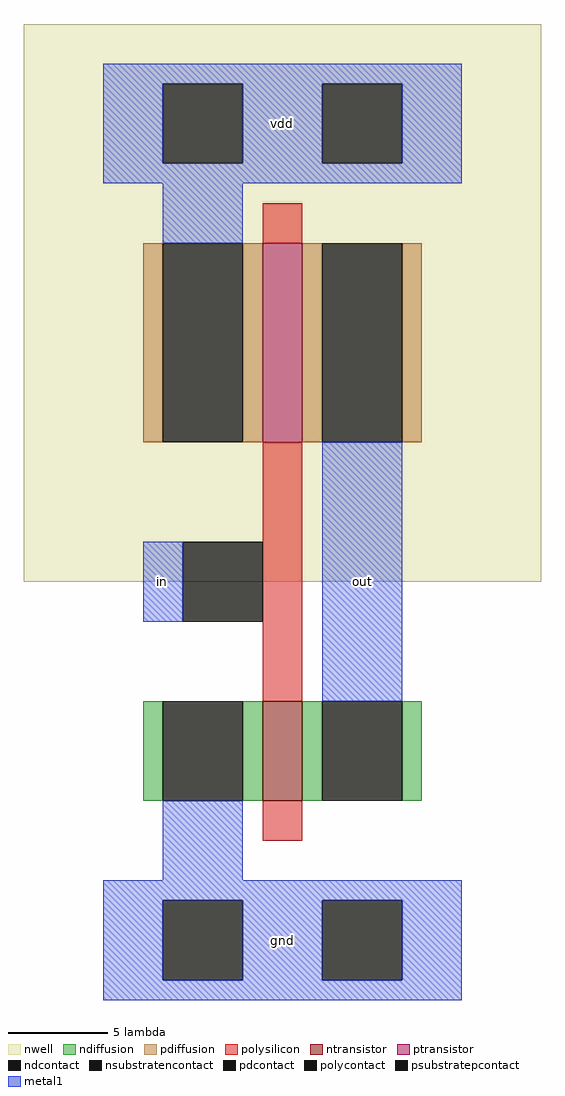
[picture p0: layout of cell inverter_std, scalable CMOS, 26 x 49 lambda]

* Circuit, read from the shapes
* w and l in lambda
.subckt inverter_std gnd in out vdd
M1 out in gnd gnd nfet w=5 l=2
M2 out in vdd vdd pfet w=10 l=2
.ends

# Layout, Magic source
magic
tech scmos
<< nwell >>
rect -13 18 13 46
<< ntransistor >>
rect -1 7 1 12
<< ptransistor >>
rect -1 25 1 35
<< ndiffusion >>
rect -7 7 -6 12
rect -2 7 -1 12
rect 1 7 2 12
rect 6 7 7 12
<< pdiffusion >>
rect -7 25 -6 35
rect -2 25 -1 35
rect 1 25 2 35
rect 6 25 7 35
<< ndcontact >>
rect -6 7 -2 12
rect 2 7 6 12
<< pdcontact >>
rect -6 25 -2 35
rect 2 25 6 35
<< psubstratepcontact >>
rect -6 -2 -2 2
rect 2 -2 6 2
<< nsubstratencontact >>
rect -6 39 -2 43
rect 2 39 6 43
<< polysilicon >>
rect -1 35 1 37
rect -1 12 1 25
rect -1 5 1 7
<< polycontact >>
rect -5 16 -1 20
<< metal1 >>
rect -9 43 9 44
rect -9 39 -6 43
rect -2 39 2 43
rect 6 39 9 43
rect -9 38 9 39
rect -6 35 -2 38
rect -7 16 -5 20
rect 2 12 6 25
rect -6 3 -2 7
rect -9 2 9 3
rect -9 -2 -6 2
rect -2 -2 2 2
rect 6 -2 9 2
rect -9 -3 9 -2
<< labels >>
rlabel metal1 0 0 0 0 1 gnd
rlabel metal1 -6 18 -6 18 1 in
rlabel metal1 4 18 4 18 1 out
rlabel metal1 0 41 0 41 5 vdd
<< end >>
